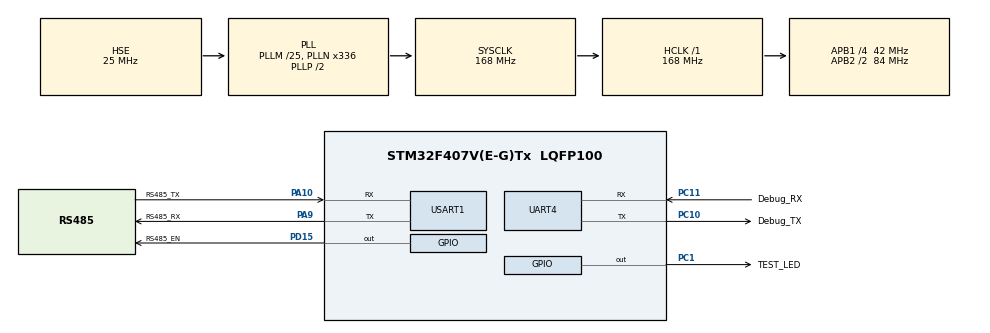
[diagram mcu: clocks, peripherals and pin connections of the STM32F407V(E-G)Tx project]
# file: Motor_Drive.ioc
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Dma.Request0=USART1_RX
Dma.Request1=USART1_TX
Dma.Request2=UART4_RX
Dma.Request3=UART4_TX
Dma.UART4_RX.2.Direction=DMA_PERIPH_TO_MEMORY
Dma.UART4_RX.2.FIFOMode=DMA_FIFOMODE_DISABLE
Dma.UART4_RX.2.Instance=DMA1_Stream2
Dma.UART4_RX.2.MemDataAlignment=DMA_MDATAALIGN_BYTE
Dma.UART4_RX.2.MemInc=DMA_MINC_ENABLE
Dma.UART4_RX.2.Mode=DMA_NORMAL
Dma.UART4_RX.2.PeriphDataAlignment=DMA_PDATAALIGN_BYTE
Dma.UART4_RX.2.PeriphInc=DMA_PINC_DISABLE
Dma.UART4_RX.2.Priority=DMA_PRIORITY_LOW
Dma.UART4_TX.3.Direction=DMA_MEMORY_TO_PERIPH
Dma.UART4_TX.3.FIFOMode=DMA_FIFOMODE_DISABLE
Dma.UART4_TX.3.Instance=DMA1_Stream4
Dma.UART4_TX.3.MemDataAlignment=DMA_MDATAALIGN_BYTE
Dma.UART4_TX.3.MemInc=DMA_MINC_ENABLE
Dma.UART4_TX.3.Mode=DMA_NORMAL
Dma.UART4_TX.3.PeriphDataAlignment=DMA_PDATAALIGN_BYTE
Dma.UART4_TX.3.PeriphInc=DMA_PINC_DISABLE
Dma.UART4_TX.3.Priority=DMA_PRIORITY_LOW
Dma.USART1_RX.0.Direction=DMA_PERIPH_TO_MEMORY
Dma.USART1_RX.0.FIFOMode=DMA_FIFOMODE_DISABLE
Dma.USART1_RX.0.Instance=DMA2_Stream2
Dma.USART1_RX.0.MemDataAlignment=DMA_MDATAALIGN_BYTE
Dma.USART1_RX.0.MemInc=DMA_MINC_ENABLE
Dma.USART1_RX.0.Mode=DMA_NORMAL
Dma.USART1_RX.0.PeriphDataAlignment=DMA_PDATAALIGN_BYTE
Dma.USART1_RX.0.PeriphInc=DMA_PINC_DISABLE
Dma.USART1_RX.0.Priority=DMA_PRIORITY_LOW
Dma.USART1_TX.1.Direction=DMA_MEMORY_TO_PERIPH
Dma.USART1_TX.1.FIFOMode=DMA_FIFOMODE_DISABLE
Dma.USART1_TX.1.Instance=DMA2_Stream7
Dma.USART1_TX.1.MemDataAlignment=DMA_MDATAALIGN_BYTE
Dma.USART1_TX.1.MemInc=DMA_MINC_ENABLE
Dma.USART1_TX.1.Mode=DMA_NORMAL
Dma.USART1_TX.1.PeriphDataAlignment=DMA_PDATAALIGN_BYTE
Dma.USART1_TX.1.PeriphInc=DMA_PINC_DISABLE
Dma.USART1_TX.1.Priority=DMA_PRIORITY_LOW
Mcu.Family=STM32F4
Mcu.Name=STM32F407V(E-G)Tx
Mcu.Package=LQFP100
NVIC.DMA1_Stream2_IRQn=true\:0\:0\:false\:false\:true\:false\:true\:true
NVIC.DMA1_Stream4_IRQn=true\:0\:0\:false\:false\:true\:false\:true\:true
NVIC.DMA2_Stream2_IRQn=true\:0\:0\:false\:false\:true\:false\:true\:true
NVIC.DMA2_Stream7_IRQn=true\:0\:0\:false\:false\:true\:false\:true\:true
NVIC.PriorityGroup=NVIC_PRIORITYGROUP_4
NVIC.UART4_IRQn=true\:0\:0\:false\:false\:true\:true\:true\:true
NVIC.USART1_IRQn=true\:0\:0\:false\:false\:true\:true\:true\:true
PA10.GPIO_Label=RS485_TX
PA10.Mode=Asynchronous
PA10.Signal=USART1_RX
PA13.Mode=Serial_Wire
PA13.Signal=SYS_JTMS-SWDIO
PA14.Mode=Serial_Wire
PA14.Signal=SYS_JTCK-SWCLK
PA9.GPIO_Label=RS485_RX
PA9.Mode=Asynchronous
PA9.Signal=USART1_TX
PC1.GPIO_Label=TEST_LED
PC1.Signal=GPIO_Output
PC10.GPIO_Label=Debug_TX
PC10.Mode=Asynchronous
PC10.Signal=UART4_TX
PC11.GPIO_Label=Debug_RX
PC11.Mode=Asynchronous
PC11.Signal=UART4_RX
PC14-OSC32_IN.Mode=LSE-External-Oscillator
PC14-OSC32_IN.Signal=RCC_OSC32_IN
PC15-OSC32_OUT.Mode=LSE-External-Oscillator
PC15-OSC32_OUT.Signal=RCC_OSC32_OUT
PD15.GPIO_Label=RS485_EN
PD15.Signal=GPIO_Output
PH0-OSC_IN.Mode=HSE-External-Oscillator
PH0-OSC_IN.Signal=RCC_OSC_IN
PH1-OSC_OUT.Mode=HSE-External-Oscillator
PH1-OSC_OUT.Signal=RCC_OSC_OUT
ProjectManager.HeapSize=0x200
ProjectManager.StackSize=0x400
ProjectManager.TargetToolchain=MDK-ARM V5.32
RCC.48MHZClocksFreq_Value=84000000
RCC.AHBFreq_Value=168000000
RCC.APB1CLKDivider=RCC_HCLK_DIV4
RCC.APB1Freq_Value=42000000
RCC.APB1TimFreq_Value=84000000
RCC.APB2CLKDivider=RCC_HCLK_DIV2
RCC.APB2Freq_Value=84000000
RCC.APB2TimFreq_Value=168000000
RCC.CortexFreq_Value=168000000
RCC.HCLKFreq_Value=168000000
RCC.HSE_VALUE=25000000
RCC.HSI_VALUE=16000000
RCC.PLLM=25
RCC.PLLN=336
RCC.PLLSourceVirtual=RCC_PLLSOURCE_HSE
RCC.SYSCLKFreq_VALUE=168000000
RCC.SYSCLKSource=RCC_SYSCLKSOURCE_PLLCLK
RCC.VCOOutputFreq_Value=336000000
UART4.VirtualMode=Asynchronous
USART1.VirtualMode=VM_ASYNC
board=custom

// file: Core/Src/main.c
/* USER CODE BEGIN Header */
/**
  ******************************************************************************
  * @file           : main.c
  * @brief          : Main program body
  ******************************************************************************
  * @attention
  *
  * Copyright (c) 2024 STMicroelectronics.
  * All rights reserved.
  *
  * This software is licensed under terms that can be found in the LICENSE file
  * in the root directory of this software component.
  * If no LICENSE file comes with this software, it is provided AS-IS.
  *
  ******************************************************************************
  */
/* USER CODE END Header */
#include "main.h"
#include "dma.h"
#include "usart.h"
#include "gpio.h"

/* USER CODE BEGIN Includes */
#include  "rs485_drc.h"
/* USER CODE END Includes */

void SystemClock_Config(void);

int main(void)
{
  /* USER CODE BEGIN 1 */
  extern uint8_t _485rx_buffer[256];
  extern uint8_t received_data[_485RX_BUFFER_SIZE];
  uint16_t received_length = 0;
  /* USER CODE END 1 */

  /* MCU Configuration--------------------------------------------------------*/

  /* Reset of all peripherals, Initializes the Flash interface and the Systick. */
  HAL_Init();

  /* Configure the system clock */
  SystemClock_Config();

  /* Initialize all configured peripherals */
  MX_GPIO_Init();
  MX_DMA_Init();
  MX_UART4_Init();
  MX_USART1_UART_Init();
  /* USER CODE BEGIN 2 */
  printf ("----- RS485 1# Board -----\r\n");
  RS485_Init();

  /* USER CODE END 2 */

  /* Infinite loop */
  while (1)
  {

    /* USER CODE BEGIN 3 */
    HAL_GPIO_TogglePin(TEST_LED_GPIO_Port, TEST_LED_Pin);
    HAL_Delay(200);

    if (rx_index > 0) {
            // 从缓冲区中读取数据
            received_length = RS485_ReceiveData(received_data, 0);
            // 转发接收到的数据
            if (received_length > 0) {
                printf("Received Data Length: %d\n", received_length);
                printf("Received Data: ");
                for (int i = 0; i < received_length; i++) {
                    printf("%02X ", received_data[i]);
                }
                printf("\n");
                RS485_Transmit(received_data, received_length);

            }
        }
  }
  /* USER CODE END 3 */
}

void SystemClock_Config(void)
{
  RCC_OscInitTypeDef RCC_OscInitStruct = {0};
  RCC_ClkInitTypeDef RCC_ClkInitStruct = {0};

  /** Configure the main internal regulator output voltage
  */
  __HAL_RCC_PWR_CLK_ENABLE();
  __HAL_PWR_VOLTAGESCALING_CONFIG(PWR_REGULATOR_VOLTAGE_SCALE1);

  /** Initializes the RCC Oscillators according to the specified parameters
  * in the RCC_OscInitTypeDef structure.
  */
  RCC_OscInitStruct.OscillatorType = RCC_OSCILLATORTYPE_HSE;
  RCC_OscInitStruct.HSEState = RCC_HSE_ON;
  RCC_OscInitStruct.PLL.PLLState = RCC_PLL_ON;
  RCC_OscInitStruct.PLL.PLLSource = RCC_PLLSOURCE_HSE;
  RCC_OscInitStruct.PLL.PLLM = 25;
  RCC_OscInitStruct.PLL.PLLN = 336;
  RCC_OscInitStruct.PLL.PLLP = RCC_PLLP_DIV2;
  RCC_OscInitStruct.PLL.PLLQ = 4;
  if (HAL_RCC_OscConfig(&RCC_OscInitStruct) != HAL_OK)
  {
    Error_Handler();
  }

  /** Initializes the CPU, AHB and APB buses clocks
  */
  RCC_ClkInitStruct.ClockType = RCC_CLOCKTYPE_HCLK|RCC_CLOCKTYPE_SYSCLK
                              |RCC_CLOCKTYPE_PCLK1|RCC_CLOCKTYPE_PCLK2;
  RCC_ClkInitStruct.SYSCLKSource = RCC_SYSCLKSOURCE_PLLCLK;
  RCC_ClkInitStruct.AHBCLKDivider = RCC_SYSCLK_DIV1;
  RCC_ClkInitStruct.APB1CLKDivider = RCC_HCLK_DIV4;
  RCC_ClkInitStruct.APB2CLKDivider = RCC_HCLK_DIV2;

  if (HAL_RCC_ClockConfig(&RCC_ClkInitStruct, FLASH_LATENCY_5) != HAL_OK)
  {
    Error_Handler();
  }
}

void Error_Handler(void)
{
  __disable_irq();
  while (1)
  {
  }
}
